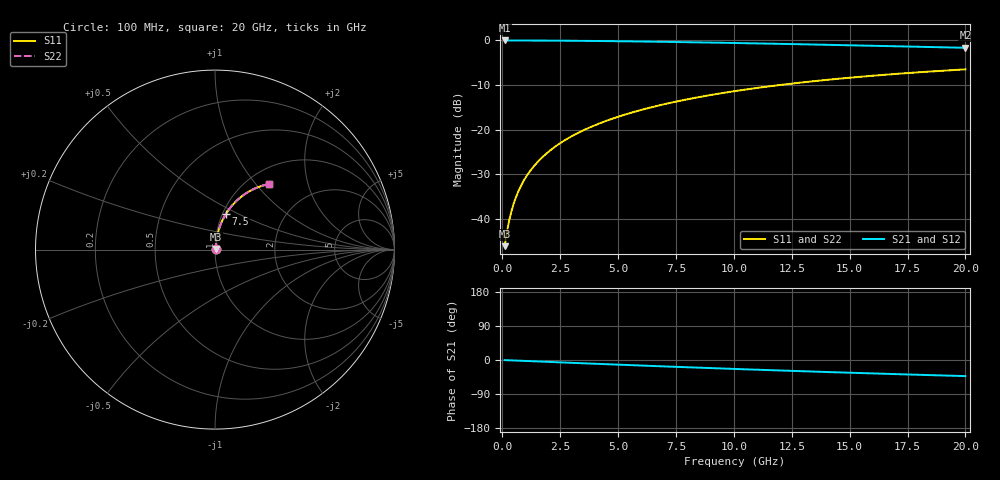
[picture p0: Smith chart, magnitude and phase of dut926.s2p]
! Touchstone file exported from HFSS 2024.1.0
!  File:  C:/UserFiles/LocalFiles/RDL_TSV_Batchsim/temp_RDL_bottom_926_1779941167.aedt
!  Generated:  12:09:03 PM May 28, 2026
!  Design:  RDL_bottom
!  Project:  temp_RDL_bottom_926_1779941167
!  Setup:  Setup1
!  Solution:  Sweep
! Variables:
!  dtsv = 10.80580581um
!  hbump = 3um
!  htsv = 98.03um
!  ldown = 547.2um
!  lrdl = 100um
!  p = 40
!  p1 = 50.04um
!  rhole = 1um
!  t = 450um
!  tdown = 3.95um
!  trdl = 3.915915916um
!  wdown = 12.51um
!  wrdl = 20um
# GHz S MA R 50.000000
! Terminal data exported
! Port[1] = RDL1_T1
! Port[2] = RDL1_T2
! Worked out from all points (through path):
!   200 points, 100 MHz to 20 GHz, reference 50 ohm
!   highest |S21| = -0.03 dB at 100 MHz (marker M1); lowest = -1.7 dB at 20 GHz (marker M2)
!   group delay of S21, straight-line fit = 5.9 ps
!   lowest |S11| = -46.1 dB at 100 MHz (marker M3), VSWR 1.01, Z = 50.4 + j0.293 ohm
!   |S11| at or under -10 dB: start of sweep to 12.01 GHz
!   |S22| runs from -46.1 to -6.5 dB; largest |S21 - S12| = 2e-15
!   S11 on the Smith chart (normalised r, x): 100 MHz: 1.01, +0.01; 7.5 GHz: 1.04, +0.43; 20 GHz: 1.25, +1.17
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0.1  0.004942 36.1  0.996 -0.3  0.996 -0.3  0.004942 36.1
! Gamma 0 0 0 0
! Port Impedance 50 0 50 0
0.2  0.007093 54.9  0.9959 -0.5  0.9959 -0.5  0.007093 54.9
0.3  0.009637 64.2  0.9958 -0.8  0.9958 -0.8  0.009637 64.2
0.4  0.01231 69.3  0.9957 -1.0  0.9957 -1.0  0.01231 69.3
0.5  0.01503 72.5  0.9955 -1.3  0.9955 -1.3  0.01503 72.5
0.6  0.01776 74.7  0.9954 -1.5  0.9954 -1.5  0.01776 74.7
0.8  0.02326 77.4  0.9951 -2.0  0.9951 -2.0  0.02326 77.4
1.1  0.03154 79.5  0.9945 -2.8  0.9945 -2.8  0.03154 79.5
1.5  0.04262 80.7  0.9937 -3.8  0.9937 -3.8  0.04262 80.7
1.8  0.05095 81.0  0.9929 -4.5  0.9929 -4.5  0.05095 81.0
2.1  0.05928 81.1  0.9919 -5.3  0.9919 -5.3  0.05928 81.1
2.7  0.07593 80.8  0.9897 -6.7  0.9897 -6.7  0.07593 80.8
3.5  0.09806 80.0  0.986 -8.7  0.986 -8.7  0.09806 80.0
4.2  0.1173 79.0  0.982 -10.4  0.982 -10.4  0.1173 79.0
5  0.1391 77.7  0.9769 -12.3  0.9769 -12.3  0.1391 77.7
5.9  0.1633 76.1  0.9704 -14.4  0.9704 -14.4  0.1634 76.1
6.8  0.1872 74.5  0.9632 -16.5  0.9632 -16.5  0.1872 74.5
7.5  0.2056 73.2  0.9571 -18.1  0.9571 -18.1  0.2056 73.2
10.1  0.271 68.2  0.9324 -23.8  0.9324 -23.8  0.271 68.2
13.4  0.3473 62.1  0.8975 -30.5  0.8975 -30.5  0.3473 62.1
16.7  0.4146 56.1  0.8608 -36.7  0.8608 -36.7  0.4146 56.1
20  0.4726 50.6  0.8241 -42.5  0.8241 -42.5  0.4726 50.6
